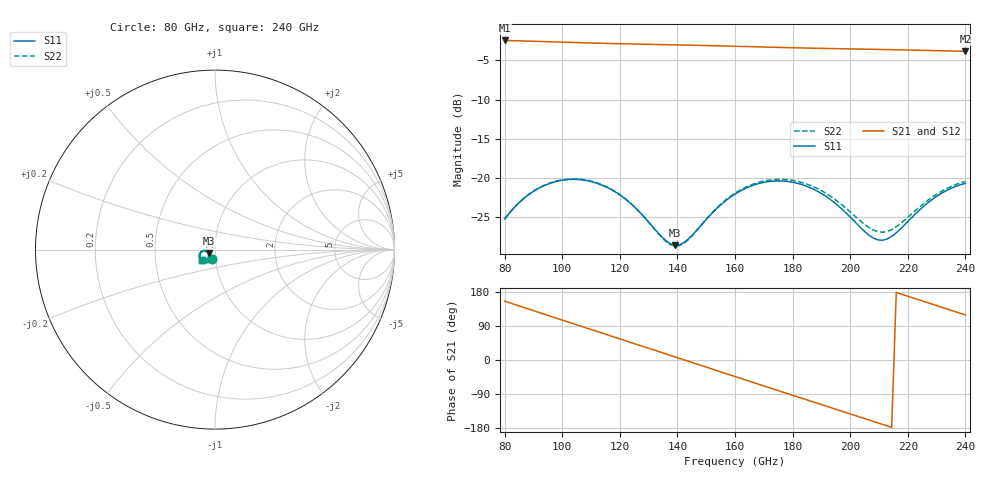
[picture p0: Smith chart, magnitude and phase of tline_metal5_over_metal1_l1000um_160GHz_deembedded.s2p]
! Created with skrf 2.2.0 (http://scikit-rf.org).
# GHz S DB R 50.0
! Port[1] = P1
! Port[2] = P2
!freq dBS11 angS11 dBS21 angS21 dBS12 angS12 dBS22 angS22
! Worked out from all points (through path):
!   101 points, 80 GHz to 240 GHz, reference 50 ohm
!   highest |S21| = -2.47 dB at 80 GHz (marker M1); lowest = -3.9 dB at 240 GHz (marker M2)
!   group delay of S21, straight-line fit = 6.88 ps
!   lowest |S11| = -28.5 dB at 139.2 GHz (marker M3), VSWR 1.08, Z = 46.8 - j1.72 ohm
!   |S11| at or under -10 dB: start of sweep to end of sweep
!   |S22| runs from -28.7 to -20.1 dB; largest |S21 - S12| = 1.2e-13
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80  -25.21 -108.3  -2.47 155.3  -2.47 155.3  -25.23 -106.1
86.4  -22.68 -113.6  -2.53 139.3  -2.53 139.3  -22.65 -111.8
94.4  -20.86 -126.2  -2.62 119.3  -2.62 119.3  -20.81 -124.7
100.8  -20.23 -137.7  -2.69 103.3  -2.69 103.3  -20.18 -136.4
107.2  -20.24 -149.3  -2.76 87.4  -2.76 87.4  -20.19 -148.1
113.6  -20.86 -160.1  -2.83 71.6  -2.83 71.6  -20.82 -159.0
120  -22.14 -169.1  -2.88 55.7  -2.88 55.7  -22.10 -168.0
128  -24.77 -174.2  -2.95 35.9  -2.95 35.9  -24.78 -173.2
134.4  -27.42 -166.7  -2.99 20.0  -2.99 20.0  -27.51 -165.5
139.2  -28.55 -150.6  -3.03 8.1  -3.03 8.1  -28.67 -148.7
142.4  -28.18 -138.5  -3.05 0.2  -3.05 0.2  -28.28 -136.1
148.8  -25.77 -125.0  -3.10 -15.8  -3.10 -15.8  -25.76 -122.2
160  -22.04 -129.2  -3.21 -43.6  -3.21 -43.6  -21.93 -126.4
168  -20.71 -139.9  -3.28 -63.4  -3.28 -63.4  -20.56 -137.0
174.4  -20.36 -149.6  -3.34 -79.2  -3.34 -79.2  -20.17 -146.5
180.8  -20.59 -159.3  -3.40 -95.0  -3.40 -95.0  -20.35 -156.0
187.2  -21.41 -167.9  -3.45 -110.7  -3.45 -110.7  -21.09 -164.3
201.6  -25.56 -174.0  -3.55 -146.2  -3.55 -146.2  -24.82 -170.2
209.6  -27.87 -155.8  -3.61 -166.0  -3.61 -166.0  -26.83 -154.8
214.4  -27.44 -139.8  -3.64 -177.8  -3.64 -177.8  -26.56 -141.2
227.2  -23.08 -128.5  -3.74 150.5  -3.74 150.5  -22.77 -129.4
240  -20.67 -141.9  -3.86 119.0  -3.86 119.0  -20.43 -141.1
